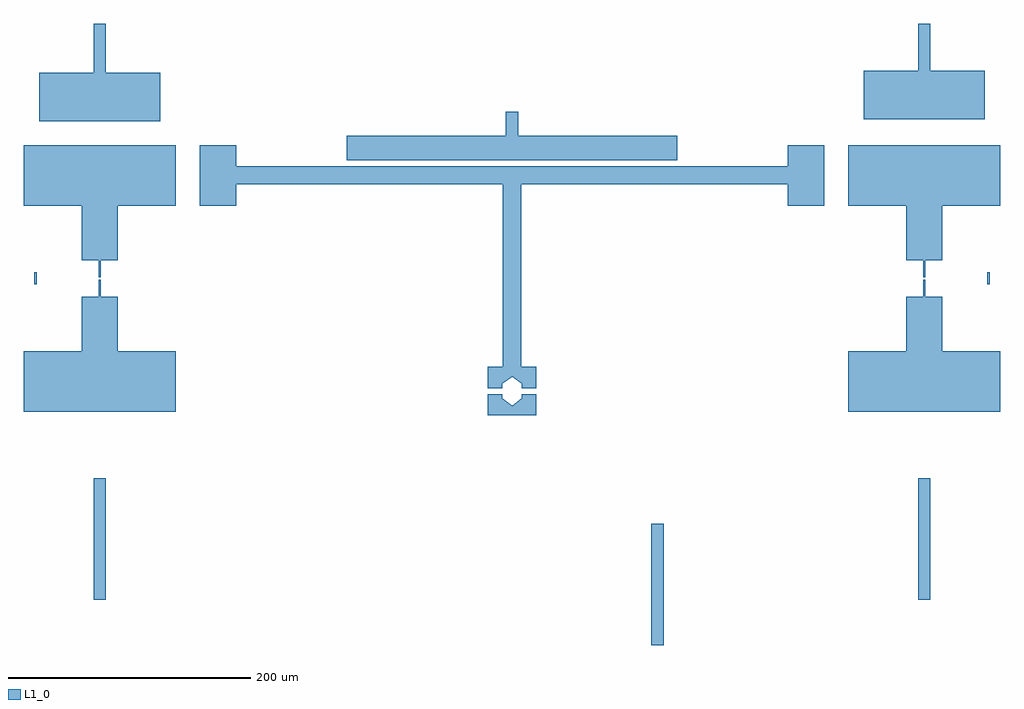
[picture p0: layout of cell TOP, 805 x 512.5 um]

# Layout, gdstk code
import gdstk
lib = gdstk.Library(unit=1e-6, precision=1e-09)
def R(c, l, rs):  # rectangles x0, y0, x1, y1
    for r in rs: c.add(gdstk.rectangle(r[:2], r[2:], *l))
def P(c, l, *ps):  # polygons
    for p in ps: c.add(gdstk.Polygon(p, *l))
L1_0 = (1, 0)

top = lib.new_cell('TOP')
R(top, L1_0, [(115,-1102.5,125,-1002.5), (-345,-1065,-335,-965), (335,-1065,345,-965), (-394,-805,-392,-795), (392,-805,394,-795)])
P(top, L1_0, [(-402.5,-690),(-277.5,-690),(-277.5,-740),(-325,-740),(-325,-785),(-339,-785),(-339,-799),(-341,-799),(-341,-785),(-355,-785),(-355,-740),(-402.5,-740)],
  [(-277.5,-910),(-402.5,-910),(-402.5,-860),(-355,-860),(-355,-815),(-341,-815),(-341,-801),(-339,-801),(-339,-815),(-325,-815),(-325,-860),(-277.5,-860)],
  [(-290,-630.25),(-290,-670.25),(-390,-670.25),(-390,-630.25),(-345,-630.25),(-345,-590),(-335,-590),(-335,-630.25)],
  [(402.5,-690),(277.5,-690),(277.5,-740),(325,-740),(325,-785),(339,-785),(339,-799),(341,-799),(341,-785),(355,-785),(355,-740),(402.5,-740)],
  [(277.5,-910),(402.5,-910),(402.5,-860),(355,-860),(355,-815),(341,-815),(341,-801),(339,-801),(339,-815),(325,-815),(325,-860),(277.5,-860)],
  [(290,-628.8),(290,-668.8),(390,-668.8),(390,-628.8),(345,-628.8),(345,-590),(335,-590),(335,-628.8)],
  [(-257.5,-690),(-257.5,-740),(-227.5,-740),(-227.5,-722.5),(-7.5,-722.5),(-7.5,-873),(-20,-873),(-20,-890.5),(-8,-890.5),(-8,-887),(0,-881),(8,-887),(8,-890.5),(20,-890.5),(20,-873),(7.5,-873),(7.5,-722.5),(227.5,-722.5),(227.5,-740),(257.5,-740),(257.5,-690),(227.5,-690),(227.5,-707.5),(-227.5,-707.5),(-227.5,-690)],
  [(20,-913),(20,-895.5),(8,-895.5),(8,-899),(0,-905),(-8,-899),(-8,-895.5),(-20,-895.5),(-20,-913)],
  [(-136.5,-682.5),(-136.5,-702.5),(136.5,-702.5),(136.5,-682.5),(5,-682.5),(5,-662.5),(-5,-662.5),(-5,-682.5)])

lib.write_gds('TOP.gds')
